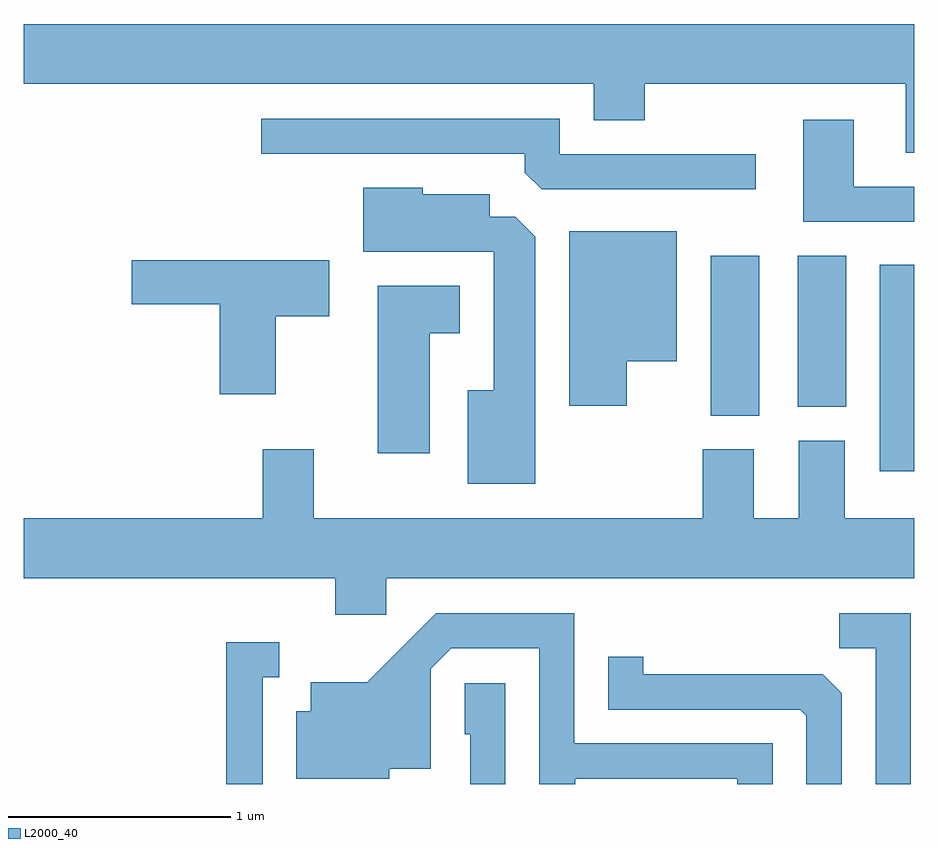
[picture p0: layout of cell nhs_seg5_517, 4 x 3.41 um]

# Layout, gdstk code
import gdstk
lib = gdstk.Library(unit=1e-6, precision=1e-09)
def R(c, l, rs):  # rectangles x0, y0, x1, y1
    for r in rs: c.add(gdstk.rectangle(r[:2], r[2:], *l))
def P(c, l, *ps):  # polygons
    for p in ps: c.add(gdstk.Polygon(p, *l))
L2000_40 = (2000, 40)

nhs_seg5_517 = lib.new_cell('nhs_seg5_517')
R(nhs_seg5_517, L2000_40, [(203.456,1479.476,203.611,1480.404), (202.696,1479.726,202.914,1480.444), (203.086,1479.766,203.304,1480.444)])
P(nhs_seg5_517, L2000_40, [(203.611,1481.484),(199.611,1481.484),(199.611,1481.216),(202.171,1481.216),(202.171,1481.051),(202.399,1481.051),(202.399,1481.216),(203.571,1481.216),(203.571,1480.906),(203.611,1480.906)],
  [(202.898,1480.899),(202.019,1480.899),(202.019,1481.059),(200.678,1481.059),(200.678,1480.901),(201.861,1480.901),(201.861,1480.817),(201.937,1480.741),(202.898,1480.741)],
  [(203.611,1480.754),(203.339,1480.754),(203.339,1481.054),(203.111,1481.054),(203.111,1480.596),(203.611,1480.596)],
  [(201.909,1480.529),(201.819,1480.619),(201.704,1480.619),(201.704,1480.719),(201.404,1480.719),(201.404,1480.749),(201.136,1480.749),(201.136,1480.461),(201.721,1480.461),(201.721,1479.839),(201.606,1479.839),(201.606,1479.421),(201.909,1479.421)],
  [(202.319,1479.971),(202.544,1479.971),(202.544,1480.554),(202.061,1480.554),(202.061,1479.771),(202.319,1479.771)],
  [(200.744,1480.171),(200.984,1480.171),(200.984,1480.424),(200.096,1480.424),(200.096,1480.226),(200.491,1480.226),(200.491,1479.821),(200.744,1479.821)],
  [(201.434,1480.096),(201.569,1480.096),(201.569,1480.309),(201.201,1480.309),(201.201,1479.556),(201.434,1479.556)],
  [(201.239,1478.996),(203.611,1478.996),(203.611,1479.264),(203.299,1479.264),(203.299,1479.614),(203.091,1479.614),(203.091,1479.264),(202.889,1479.264),(202.889,1479.574),(202.661,1479.574),(202.661,1479.264),(200.914,1479.264),(200.914,1479.574),(200.686,1479.574),(200.686,1479.264),(199.611,1479.264),(199.611,1478.996),(201.011,1478.996),(201.011,1478.831),(201.239,1478.831)],
  [(202.089,1478.096),(202.816,1478.096),(202.816,1478.072),(202.974,1478.072),(202.974,1478.254),(202.084,1478.254),(202.084,1478.839),(201.464,1478.839),(201.154,1478.529),(200.901,1478.529),(200.901,1478.399),(200.836,1478.399),(200.836,1478.096),(201.254,1478.096),(201.254,1478.141),(201.439,1478.141),(201.439,1478.589),(201.532,1478.681),(201.926,1478.681),(201.926,1478.072),(202.089,1478.072)],
  [(203.594,1478.839),(203.273,1478.839),(203.273,1478.681),(203.436,1478.681),(203.436,1478.072),(203.594,1478.072)],
  [(200.684,1478.551),(200.758,1478.551),(200.758,1478.709),(200.521,1478.709),(200.521,1478.072),(200.684,1478.072)],
  [(203.284,1478.479),(203.199,1478.564),(202.394,1478.564),(202.394,1478.643),(202.236,1478.643),(202.236,1478.406),(203.099,1478.406),(203.126,1478.379),(203.126,1478.072),(203.284,1478.072)],
  [(201.774,1478.524),(201.591,1478.524),(201.591,1478.296),(201.616,1478.296),(201.616,1478.072),(201.774,1478.072)])

lib.write_gds('nhs_seg5_517.gds')
